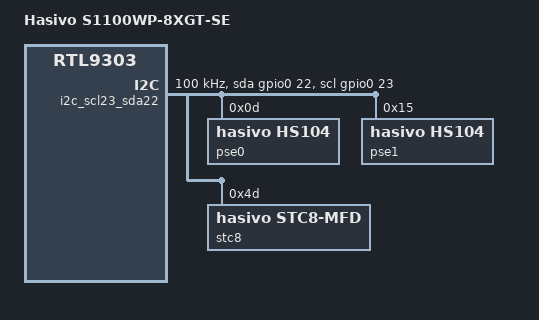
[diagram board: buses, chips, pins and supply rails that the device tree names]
// SPDX-License-Identifier: GPL-2.0-or-later
/dts-v1/;

#include "rtl9303_hasivo_s1100w-8xgt-se-common.dtsi"

/ {
	compatible = "hasivo,s1100wp-8xgt-se", "realtek,rtl9303-soc";
	model = "Hasivo S1100WP-8XGT-SE";

	aliases {
		i2c0 = &i2c_scl23_sda22;
	};

	i2c_scl23_sda22: i2c-scl23-sda22 {
		compatible = "i2c-gpio";
		#address-cells = <1>;
		#size-cells = <0>;

		scl-gpios = <&gpio0 23 (GPIO_ACTIVE_HIGH | GPIO_OPEN_DRAIN)>;
		sda-gpios = <&gpio0 22 (GPIO_ACTIVE_HIGH | GPIO_OPEN_DRAIN)>;
		status = "okay";

		clock-frequency = <100000>;

		pse0: ethernet-pse@d {
			compatible = "hasivo,hs104";
			reg = <0x0d>;
			poll-interval-ms = <500>;
			status = "okay";

			pse-pis {
				#address-cells = <1>;
				#size-cells = <0>;

				pse0_pi0: pse-pi@0 {
					reg = <0>;
					#pse-cells = <0>;
				};
				pse0_pi1: pse-pi@1 {
					reg = <1>;
					#pse-cells = <0>;
				};
				pse0_pi2: pse-pi@2 {
					reg = <2>;
					#pse-cells = <0>;
				};
				pse0_pi3: pse-pi@3 {
					reg = <3>;
					#pse-cells = <0>;
				};
			};
		};

		pse1: ethernet-pse@15 {
			compatible = "hasivo,hs104";
			reg = <0x15>;
			poll-interval-ms = <500>;
			status = "okay";

			pse-pis {
				#address-cells = <1>;
				#size-cells = <0>;

				pse1_pi0: pse-pi@0 {
					reg = <0>;
					#pse-cells = <0>;
				};
				pse1_pi1: pse-pi@1 {
					reg = <1>;
					#pse-cells = <0>;
				};
				pse1_pi2: pse-pi@2 {
					reg = <2>;
					#pse-cells = <0>;
				};
				pse1_pi3: pse-pi@3 {
					reg = <3>;
					#pse-cells = <0>;
				};
			};
		};

		stc8: stc8@4d {
			compatible = "hasivo,stc8-mfd", "syscon";
			reg = <0x4d>;
			#address-cells = <2>;
			#size-cells = <0>;
			hasivo,execute-bit = <0x40>;
			hasivo,execute-bit-registers = <0x01 0x02>;
			status = "okay";

			led_lan1_poe: led@1,0 {
				compatible = "register-bit-led";
				reg = <0x01 0x00>;
				mask = <0x08>;
				color = <LED_COLOR_ID_ORANGE>;
				function = "poe";
				function-enumerator = <1>;
				linux,default-trigger = "pse-0-000d:port0:delivering";
				default-state = "off";
			};

			led_lan2_poe: led@1,1 {
				compatible = "register-bit-led";
				reg = <0x01 0x01>;
				mask = <0x04>;
				color = <LED_COLOR_ID_ORANGE>;
				function = "poe";
				function-enumerator = <2>;
				linux,default-trigger = "pse-0-000d:port1:delivering";
				default-state = "off";
			};

			led_lan3_poe: led@1,2 {
				compatible = "register-bit-led";
				reg = <0x01 0x02>;
				mask = <0x02>;
				color = <LED_COLOR_ID_ORANGE>;
				function = "poe";
				function-enumerator = <3>;
				linux,default-trigger = "pse-0-000d:port2:delivering";
				default-state = "off";
			};

			led_lan4_poe: led@1,3 {
				compatible = "register-bit-led";
				reg = <0x01 0x03>;
				mask = <0x01>;
				color = <LED_COLOR_ID_ORANGE>;
				function = "poe";
				function-enumerator = <4>;
				linux,default-trigger = "pse-0-000d:port3:delivering";
				default-state = "off";
			};

			led_lan5_poe: led@2,0 {
				compatible = "register-bit-led";
				reg = <0x02 0x00>;
				mask = <0x08>;
				color = <LED_COLOR_ID_ORANGE>;
				function = "poe";
				function-enumerator = <5>;
				linux,default-trigger = "pse-0-0015:port0:delivering";
				default-state = "off";
			};

			led_lan6_poe: led@2,1 {
				compatible = "register-bit-led";
				reg = <0x02 0x01>;
				mask = <0x04>;
				color = <LED_COLOR_ID_ORANGE>;
				function = "poe";
				function-enumerator = <6>;
				linux,default-trigger = "pse-0-0015:port1:delivering";
				default-state = "off";
			};

			led_lan7_poe: led@2,2 {
				compatible = "register-bit-led";
				reg = <0x02 0x02>;
				mask = <0x02>;
				color = <LED_COLOR_ID_ORANGE>;
				function = "poe";
				function-enumerator = <7>;
				linux,default-trigger = "pse-0-0015:port2:delivering";
				default-state = "off";
			};

			led_lan8_poe: led@2,3 {
				compatible = "register-bit-led";
				reg = <0x02 0x03>;
				mask = <0x01>;
				color = <LED_COLOR_ID_ORANGE>;
				function = "poe";
				function-enumerator = <8>;
				linux,default-trigger = "pse-0-0015:port3:delivering";
				default-state = "off";
			};
		};
	};
};

&phy0 { pses = <&pse0_pi0>; };
&phy8 { pses = <&pse0_pi1>; };
&phy16 { pses = <&pse0_pi2>; };
&phy20 { pses = <&pse0_pi3>; };
&phy24 { pses = <&pse1_pi0>; };
&phy25 { pses = <&pse1_pi1>; };
&phy26 { pses = <&pse1_pi2>; };
&phy27 { pses = <&pse1_pi3>; };
